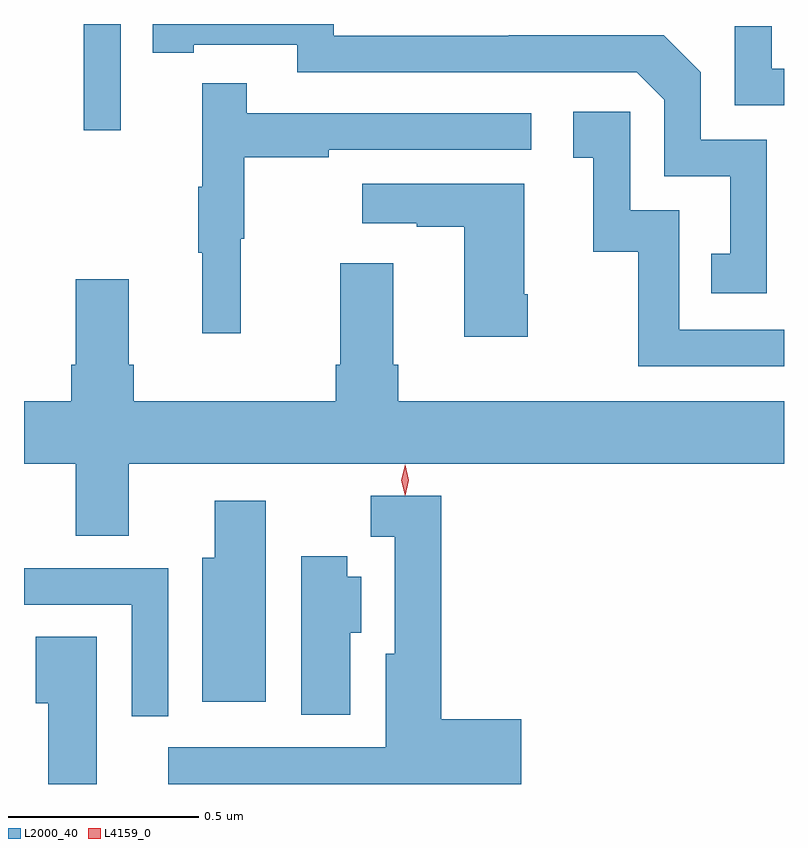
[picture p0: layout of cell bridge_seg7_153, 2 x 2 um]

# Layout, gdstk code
import gdstk
lib = gdstk.Library(unit=1e-6, precision=1e-09)
def R(c, l, rs):  # rectangles x0, y0, x1, y1
    for r in rs: c.add(gdstk.rectangle(r[:2], r[2:], *l))
def P(c, l, *ps):  # polygons
    for p in ps: c.add(gdstk.Polygon(p, *l))
L2000_40 = (2000, 40)
L4159_0 = (4159, 0)

bridge_seg7_153 = lib.new_cell('bridge_seg7_153')
R(bridge_seg7_153, L2000_40, [(567.494,1030.797,567.591,1031.077)])
P(bridge_seg7_153, L2000_40, [(569.292,1030.773),(569.118,1030.773),(569.118,1030.95),(569.02,1031.048),(568.612,1031.048),(568.612,1031.046),(568.152,1031.046),(568.152,1031.077),(567.676,1031.077),(567.676,1031.002),(567.784,1031.002),(567.784,1031.022),(568.056,1031.022),(568.056,1030.95),(568.95,1030.95),(569.022,1030.878),(569.022,1030.677),(569.195,1030.677),(569.195,1030.473),(569.146,1030.473),(569.146,1030.368),(569.292,1030.368)],
  [(569.337,1030.959),(569.305,1030.959),(569.305,1031.071),(569.208,1031.071),(569.208,1030.863),(569.337,1030.863)],
  [(567.908,1030.512),(567.916,1030.512),(567.916,1030.726),(568.139,1030.726),(568.139,1030.746),(568.672,1030.746),(568.672,1030.842),(567.923,1030.842),(567.923,1030.921),(567.806,1030.921),(567.806,1030.649),(567.795,1030.649),(567.795,1030.475),(567.806,1030.475),(567.806,1030.263),(567.908,1030.263)],
  [(569.337,1030.272),(569.061,1030.272),(569.061,1030.587),(568.932,1030.587),(568.932,1030.846),(568.782,1030.846),(568.782,1030.725),(568.835,1030.725),(568.835,1030.478),(568.953,1030.478),(568.953,1030.176),(569.337,1030.176)],
  [(568.662,1030.366),(568.654,1030.366),(568.654,1030.657),(568.227,1030.657),(568.227,1030.553),(568.37,1030.553),(568.37,1030.543),(568.496,1030.543),(568.496,1030.254),(568.662,1030.254)],
  [(567.613,1029.92),(569.337,1029.92),(569.337,1030.084),(568.322,1030.084),(568.322,1030.18),(568.309,1030.18),(568.309,1030.447),(568.169,1030.447),(568.169,1030.18),(568.157,1030.18),(568.157,1030.084),(567.626,1030.084),(567.626,1030.18),(567.613,1030.18),(567.613,1030.405),(567.473,1030.405),(567.473,1030.18),(567.461,1030.18),(567.461,1030.084),(567.337,1030.084),(567.337,1029.92),(567.473,1029.92),(567.473,1029.73),(567.613,1029.73)],
  [(568.645,1029.248),(568.435,1029.248),(568.435,1029.835),(568.25,1029.835),(568.25,1029.728),(568.313,1029.728),(568.313,1029.42),(568.289,1029.42),(568.289,1029.174),(567.717,1029.174),(567.717,1029.077),(568.645,1029.077)],
  [(567.973,1029.823),(567.839,1029.823),(567.839,1029.673),(567.806,1029.673),(567.806,1029.293),(567.973,1029.293)],
  [(568.195,1029.475),(568.225,1029.475),(568.225,1029.622),(568.188,1029.622),(568.188,1029.676),(568.067,1029.676),(568.067,1029.259),(568.195,1029.259)],
  [(567.717,1029.645),(567.337,1029.645),(567.337,1029.549),(567.621,1029.549),(567.621,1029.255),(567.717,1029.255)],
  [(567.529,1029.464),(567.368,1029.464),(567.368,1029.29),(567.401,1029.29),(567.401,1029.077),(567.529,1029.077)])
P(bridge_seg7_153, L4159_0, [(568.34,1029.835),(568.34,1029.835),(568.33,1029.876),(568.34,1029.917),(568.34,1029.917),(568.34,1029.917),(568.35,1029.876),(568.34,1029.835)])

lib.write_gds('bridge_seg7_153.gds')
